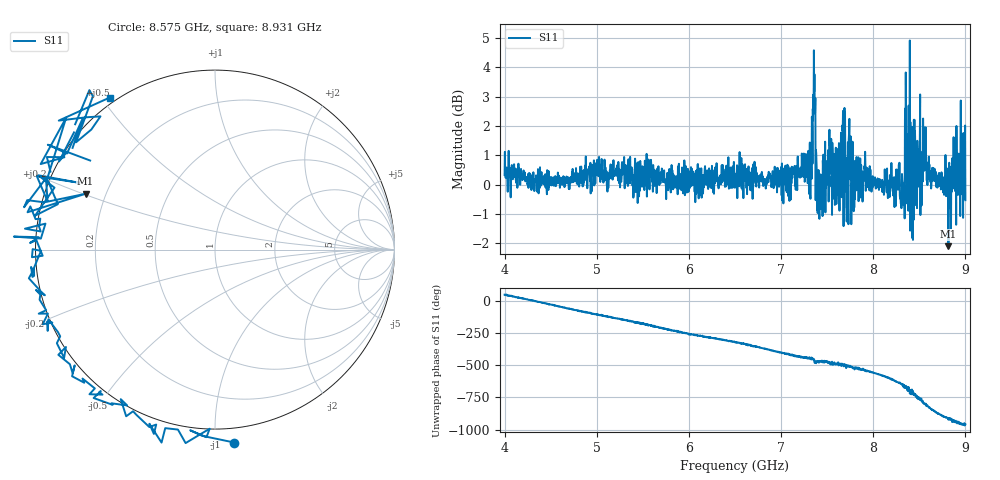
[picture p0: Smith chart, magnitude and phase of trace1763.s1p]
! Created with skrf 1.8.0 (http://scikit-rf.org).
# Hz S RI R 50.0
!freq ReS11 ImS11
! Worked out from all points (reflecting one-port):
!   1601 points, 4 GHz to 9 GHz, reference 50 ohm
!   lowest |S11| = -2.1 dB at 8.816 GHz (marker M1), VSWR 8.32, Z = 6.26 + j10.2 ohm
!   phase of S11 starts at 52 deg and turns -1012 deg over the sweep
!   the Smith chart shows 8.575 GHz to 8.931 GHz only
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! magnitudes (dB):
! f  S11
! 4 GHz  0.3
! 4.625 GHz  0.0
! 5.25 GHz  0.1
! 5.875 GHz  0.1
! 6.5 GHz  0.2
! 7.125 GHz  0.4
! 7.306 GHz  0.6
! 7.347 GHz  2.2
! 7.369 GHz  2.4
! 7.4 GHz  -0.6
! 7.412 GHz  -0.9
! 7.519 GHz  0.3
! 7.609 GHz  1.0
! 7.669 GHz  1.8
! 7.709 GHz  -0.8
! 7.75 GHz  0.5
! 7.784 GHz  0.4
! 7.928 GHz  0.6
! 8.316 GHz  0.1
! 8.334 GHz  0.0
! 8.375 GHz  1.7
! 8.447 GHz  2.2
! 8.459 GHz  -0.5
! 8.553 GHz  0.5
! 8.606 GHz  0.3
! 8.816 GHz  -2.1
! 8.972 GHz  0.8
! 9 GHz  -0.5
